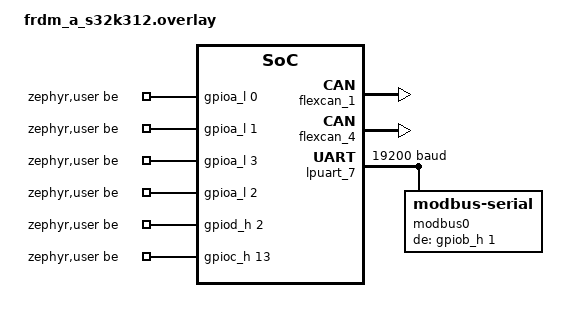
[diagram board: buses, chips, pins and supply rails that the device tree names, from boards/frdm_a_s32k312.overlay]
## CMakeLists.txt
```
# SPDX-License-Identifier: GPL-3.0-or-later
cmake_minimum_required(VERSION 3.20.0)

# Out-of-tree boards live in s32k/boards
list(APPEND BOARD_ROOT ${CMAKE_CURRENT_LIST_DIR}/../..)

find_package(Zephyr REQUIRED HINTS $ENV{ZEPHYR_BASE})
project(be_s32k_emulator)

# The link protocol is shared byte for byte with the ESP32 firmware
set(BE_SOFTWARE ${CMAKE_CURRENT_LIST_DIR}/../../../Software)
target_include_directories(app PRIVATE src ${BE_SOFTWARE}/src/communication/link)
target_sources(app PRIVATE
  src/main.c
  src/be_cfg.c
  src/be_mpu.c
  src/be_ota.c
  src/be_sha256.c
  src/be_wdt.c
  src/board_lines.c
  src/can_io.c
  src/link.c
  src/modbus_srv.c
  ${BE_SOFTWARE}/src/communication/link/be_link.c
)

# ---- The Battery-Emulator core ------------------------------------------------------------------
# Upstream sources, not copied. The list of what links without the ESP32 network, display and SD card
# code is the one the host unit tests keep (test/CMakeLists.txt), and the test/emul headers stand in
# for Arduino the same way. port/ comes first in the include path: its Preferences.h replaces theirs.
set(BE_ROOT ${CMAKE_CURRENT_LIST_DIR}/../../..)
file(STRINGS ${BE_ROOT}/test/CMakeLists.txt BE_TEST_LINES REGEX "^ *\\.\\./Software/src/.*\\.cpp")
set(BE_CORE_SOURCES)
foreach(line ${BE_TEST_LINES})
  string(STRIP "${line}" rel)
  list(APPEND BE_CORE_SOURCES ${BE_ROOT}/test/${rel})
endforeach()
list(LENGTH BE_CORE_SOURCES BE_CORE_COUNT)
if(BE_CORE_COUNT LESS 50)
  message(FATAL_ERROR "Found only ${BE_CORE_COUNT} Battery-Emulator sources in test/CMakeLists.txt")
endif()

# HTML pages have no place on the S32K: the web pages live on the ESP32. The battery page renderers of
# their own files (*-HTML.cpp) are left out, and every method they define gets an empty stand-in,
# generated from the left-out files, so that a renderer added upstream is handled the same way.
set(BE_HTML_SOURCES ${BE_CORE_SOURCES})
list(FILTER BE_HTML_SOURCES INCLUDE REGEX "-HTML\\.cpp$")
list(FILTER BE_CORE_SOURCES EXCLUDE REGEX "-HTML\\.cpp$")
set(BE_HTML_STUBS "// Generated by CMakeLists.txt: empty stand-ins for the battery HTML renderers\n")
foreach(src ${BE_HTML_SOURCES})
  get_filename_component(hdr ${src} NAME_WE)
  string(APPEND BE_HTML_STUBS "#include \"src/battery/${hdr}.h\"\n")
  file(STRINGS ${src} defs REGEX "^String [A-Za-z0-9_]+::[A-Za-z0-9_]+\\(\\) *{")
  if(NOT defs)
    message(FATAL_ERROR "${src}: no 'String Class::method() {' definition found to stand in for")
  endif()
  foreach(def ${defs})
    string(REGEX REPLACE " *{.*" "" sig "${def}")
    string(APPEND BE_HTML_STUBS "${sig} { return String(); }\n")
  endforeach()
  set_property(DIRECTORY APPEND PROPERTY CMAKE_CONFIGURE_DEPENDS ${src})
endforeach()
file(GENERATE OUTPUT ${CMAKE_CURRENT_BINARY_DIR}/be_core_gen/html_stubs.cpp CONTENT "${BE_HTML_STUBS}")
list(APPEND BE_CORE_SOURCES ${CMAKE_CURRENT_BINARY_DIR}/be_core_gen/html_stubs.cpp)
list(APPEND BE_CORE_SOURCES
  ${BE_SOFTWARE}/src/communication/nvm/comm_nvm.cpp
  ${BE_SOFTWARE}/src/communication/link/be_snapshot.cpp
  ${BE_SOFTWARE}/src/communication/equipmentstopbutton/comm_equipmentstopbutton.cpp
  ${BE_SOFTWARE}/src/devboard/utils/debounce_button.cpp
  ${BE_ROOT}/test/emul/serial.cpp
  ${BE_ROOT}/test/emul/neopixel_show.cpp
  ${BE_ROOT}/test/emul/freertos/FreeRTOS.cpp
  ${BE_ROOT}/test/emul/driver/i2c_master.cpp
)

# The calculated values logic lives in Software.cpp, which cannot be compiled here. Take it from there
# so it never drifts from upstream. Fails loudly if upstream moves the markers.
file(READ ${BE_SOFTWARE}/Software.cpp BE_SOFTWARE_CPP)
string(FIND "${BE_SOFTWARE_CPP}" "struct InstallationLimits {" BE_CALC_BEGIN)
string(FIND "${BE_SOFTWARE_CPP}" "void check_reset_reason() {" BE_CALC_END)
if(BE_CALC_BEGIN LESS 0 OR BE_CALC_END LESS BE_CALC_BEGIN)
  message(FATAL_ERROR "Calculated values section not found in Software.cpp")
endif()
math(EXPR BE_CALC_LEN "${BE_CALC_END} - ${BE_CALC_BEGIN}")
string(SUBSTRING "${BE_SOFTWARE_CPP}" ${BE_CALC_BEGIN} ${BE_CALC_LEN} BE_CALC)
file(GENERATE OUTPUT ${CMAKE_CURRENT_BINARY_DIR}/be_core_gen/be_core_calc.inc CONTENT "${BE_CALC}")
set_property(DIRECTORY APPEND PROPERTY CMAKE_CONFIGURE_DEPENDS
  ${BE_SOFTWARE}/Software.cpp ${BE_ROOT}/test/CMakeLists.txt)

zephyr_library_named(be_core)
zephyr_library_sources(${BE_CORE_SOURCES} port/be_core.cpp port/port_arduino.cpp port/port_can.cpp
  port/port_network_stubs.cpp)
zephyr_library_include_directories(port src ${CMAKE_CURRENT_BINARY_DIR}/be_core_gen
  ${BE_ROOT}/test/emul ${BE_SOFTWARE} ${BE_SOFTWARE}/src/communication/link)
zephyr_library_compile_definitions(UNIT_TEST ESP32 HW_MIV_S32K COMMON_IMAGE)
zephyr_library_compile_options(-w -include ${CMAKE_CURRENT_LIST_DIR}/port/port_prefix.h)
set_source_files_properties(${BE_SOFTWARE}/src/communication/nvm/comm_nvm.cpp PROPERTIES
  COMPILE_OPTIONS "-include;${CMAKE_CURRENT_LIST_DIR}/port/comm_nvm_prefix.h")

target_link_libraries(app PUBLIC be_core)
target_include_directories(app PRIVATE port ${BE_SOFTWARE}/src/communication/link)
target_compile_definitions(app PRIVATE HW_MIV_S32K)
target_sources(app PRIVATE port/be_core_run.c port/port_time.c port/be_kv.c port/be_link_cmd.c port/be_gpio.c
  port/be_s32k_status.c)

# Bench simulator: west build ... -- -DBE_SIM=1, or CONFIG_BE_SIM=y (sim.conf) under sysbuild
if(BE_SIM OR CONFIG_BE_SIM)
  target_sources(app PRIVATE port/sim_battery.c)
  target_compile_definitions(app PRIVATE BE_SIM)
endif()

# Under MCUboot the watchdog that MCUboot started (s32k/modules/miv_boot) keeps running through the
# start of the application until be_wdt_start() takes it over: SystemInit() of the HAL leaves SWT0 on.
if(CONFIG_BOOTLOADER_MCUBOOT)
  zephyr_compile_definitions(DISABLE_WDOG=0)
endif()
```

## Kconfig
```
# Options of the emulator application

config BE_SIM
	bool "Bench simulator"
	help
	  Builds in port/sim_battery.c, a simulated battery on the bench. The same as -DBE_SIM=1 for a plain
	  build; under sysbuild (tools/build_ota.sh) it comes in through sim.conf, because sysbuild does not
	  pass other CMake variables on to the application.

source "Kconfig.zephyr"
```

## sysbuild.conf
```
# Only used by sysbuild builds (tools/build_ota.sh): the application under MCUboot, swap with test and
# confirm, SHA-256 image check without a signature for now (OTA_PLAN.md, decision 1)
SB_CONFIG_BOOTLOADER_MCUBOOT=y
SB_CONFIG_MCUBOOT_MODE_SWAP_USING_MOVE=y
SB_CONFIG_BOOT_SIGNATURE_TYPE_NONE=y
```

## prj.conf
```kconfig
CONFIG_PRINTK=y
CONFIG_GPIO=y
CONFIG_GPIO_GET_CONFIG=y
CONFIG_SERIAL=y
CONFIG_UART_INTERRUPT_DRIVEN=y
# The link UART runs on DMA (console and Modbus stay interrupt driven)
CONFIG_UART_ASYNC_API=y
CONFIG_DMA=y
CONFIG_CAN=y
CONFIG_CAN_FD_MODE=y
CONFIG_CLOCK_CONTROL=y
CONFIG_MAIN_STACK_SIZE=4096
CONFIG_ASSERT=y
CONFIG_REBOOT=y

# Settings in NVS on the storage partition of the code flash
CONFIG_FLASH=y
CONFIG_FLASH_MAP=y
CONFIG_FLASH_PAGE_LAYOUT=y
CONFIG_NVS=y
CONFIG_SETTINGS=y
CONFIG_SETTINGS_NVS=y

# Modbus RTU server (SCADA / Home Assistant)
CONFIG_MODBUS=y
CONFIG_MODBUS_ROLE_SERVER=y
CONFIG_MODBUS_SERIAL=y
# Our settings live at 5000+, the address where float extensions would otherwise start
CONFIG_MODBUS_FP_EXTENSIONS=n

# eDMA descriptors in non-cached SRAM, not in DTCM. With descriptors in DTCM (read through the
# backdoor at 0x2100xxxx) the channel stopped with a source bus error at every scatter-gather
# switch while the CPU was reloading: SADDR held the last word of the descriptor (measured on
# FRDM-A-S32K312). DMAs that do not chain are not affected. Non-cached memory needs the MPU.
CONFIG_ARM_MPU=y
CONFIG_CPU_HAS_CUSTOM_FIXED_SOC_MPU_REGIONS=y
CONFIG_DMA_MCUX_USE_DTCM_FOR_DMA_DESCRIPTORS=n
CONFIG_NOCACHE_MEMORY=y

# Battery-Emulator core: upstream C++ drivers, each created with new at startup
CONFIG_CPP=y
CONFIG_STD_CPP20=y
CONFIG_REQUIRES_FULL_LIBCPP=y
CONFIG_COMMON_LIBC_MALLOC_ARENA_SIZE=16384
# Heap and stack use are reported over Modbus (registers 221, 224)
CONFIG_SYS_HEAP_RUNTIME_STATS=y
CONFIG_INIT_STACKS=y
CONFIG_THREAD_STACK_INFO=y
```

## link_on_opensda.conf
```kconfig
# Test variant: LPUART6 (OpenSDA) carries the link, so no console on it
CONFIG_CONSOLE=n
CONFIG_UART_CONSOLE=n
CONFIG_PRINTK=n
```

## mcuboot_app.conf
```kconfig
# The application under MCUboot (tools/build_ota.sh adds this file)

# The boot header belongs to MCUboot now
CONFIG_BOARD_NXP_MCXE31X_BOOT_HEADER=n
# The MCUboot header in front of the vector table is 4 KB: ROM_START_OFFSET cannot be set under
# MCUboot, and the SoC sets 0x1000

# Confirming the running image (boot_write_img_confirmed) and marking slot 1 for a test start
CONFIG_FLASH_MAP=y
CONFIG_STREAM_FLASH=y
CONFIG_IMG_MANAGER=y
CONFIG_MCUBOOT_IMG_MANAGER=y

# The board id in the image (TLV 0xA0, the Zephyr board name) is set by sysbuild.cmake from the board
# of the build: an update for another board is refused. The version comes from the VERSION file.
```

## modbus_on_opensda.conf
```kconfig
# Test variant: LPUART6 (OpenSDA) carries Modbus RTU, so no console on it
CONFIG_CONSOLE=n
CONFIG_UART_CONSOLE=n
CONFIG_PRINTK=n
```

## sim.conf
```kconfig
# Bench simulator (port/sim_battery.c), for builds under sysbuild (tools/build_ota.sh sim|link)
CONFIG_BE_SIM=y
```

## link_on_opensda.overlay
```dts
/*
 * Test variant: the link to the network module on the OpenSDA virtual COM port (LPUART6) instead of
 * LPUART4, so that a PC speaks the be_link protocol in place of the ESP32 (s32k/tools/ota_link_test.py).
 * The console is turned off (link_on_opensda.conf). Modbus stays on RS485. Requests 46/47 are LPUART6
 * TX/RX on DMAMUX1 (channels 6-11; LPUART4 uses 8 and 9).
 */
/ {
	chosen {
		/delete-property/ zephyr,console;
		/delete-property/ zephyr,shell-uart;
	};

	aliases {
		be-link = &lpuart_6;
	};
};

&lpuart_6 {
	current-speed = <115200>;
	dmas = <&edma 10 46>, <&edma 11 47>;
	dma-names = "tx", "rx";
};
```

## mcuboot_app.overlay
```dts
/*
 * The application under MCUboot: linked into slot 0. Added by the sysbuild build (tools/build_ota.sh).
 *
 * SPDX-License-Identifier: GPL-3.0-or-later
 */
#include "boards/mcuboot_layout.dtsi"

/ {
	chosen {
		zephyr,code-partition = &slot0_partition;
	};
};
```

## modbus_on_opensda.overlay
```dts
/*
 * Test variant: Modbus RTU on the OpenSDA virtual COM port (LPUART6) instead of RS485, so the
 * server can be tested from a PC without RS485 hardware. The console is turned off
 * (modbus_on_opensda.conf). Build with:
 *   west build ... -- -DEXTRA_DTC_OVERLAY_FILE=modbus_on_opensda.overlay -DEXTRA_CONF_FILE=modbus_on_opensda.conf
 */
/ {
	chosen {
		/delete-property/ zephyr,console;
		/delete-property/ zephyr,shell-uart;
	};
};

&lpuart_7 {
	status = "disabled";
	/delete-node/ modbus0;
};

&lpuart_6 {
	current-speed = <19200>;

	modbus0 {
		compatible = "zephyr,modbus-serial";
		status = "okay";
	};
};
```

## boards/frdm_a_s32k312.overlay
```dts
/* All three CAN channels; CAN1 (PTB22/23) and CAN4 (PTB3/PTB2) need external transceivers. */
&flexcan_1 {
	status = "okay";
};

&flexcan_4 {
	status = "okay";
};

/ {
	chosen {
		zephyr,settings-partition = &storage_partition;
	};

	/*
	 * Outputs of the Battery-Emulator core on J11, indices as in hw_miv_s32k.h. Nothing else on the
	 * board uses these pins. 3.3 V logic: a driver with a pull-down goes between them and a coil, the
	 * pads float during a reset.
	 */
	zephyr,user {
		be-gpios = <&gpioa_l 0 GPIO_ACTIVE_HIGH>,  /* 0 positive contactor, PTA0, J11-15 */
			   <&gpioa_l 1 GPIO_ACTIVE_HIGH>,  /* 1 negative contactor, PTA1, J11-13 */
			   <&gpioa_l 3 GPIO_ACTIVE_HIGH>,  /* 2 precharge, PTA3, J11-11 */
			   <&gpioa_l 2 GPIO_ACTIVE_HIGH>,  /* 3 battery 2 contactor, PTA2, J11-9 */
			   <&gpiod_h 2 GPIO_ACTIVE_HIGH>,  /* 4 BMS power, PTD18, J11-4 */
			   <&gpioc_h 13 GPIO_ACTIVE_HIGH>; /* 5 stop button input, PTC29, J11-2 */
	};
};

&gpioa_l {
	status = "okay";
};

&gpiod_h {
	status = "okay";
};


/* Modbus RTU server on RS485: LPUART7 (PTB14 RX, PTB15 TX), driver enable on PTB17 */
&lpuart_7 {
	status = "okay";
	current-speed = <19200>;
	pinctrl-0 = <&pinmux_lpuart_7>;
	pinctrl-names = "default";

	modbus0 {
		compatible = "zephyr,modbus-serial";
		de-gpios = <&gpiob_h 1 GPIO_ACTIVE_HIGH>;
		status = "okay";
	};
};

/* Link UART to the ESP32 on DMA. Requests 42/43 are LPUART4 TX/RX on DMAMUX1 (channels 6-11). */
&edma {
	status = "okay";
};

&lpuart_4 {
	dmas = <&edma 8 42>, <&edma 9 43>;
	dma-names = "tx", "rx";
};
```

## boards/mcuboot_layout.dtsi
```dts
/*
 * Flash layout with MCUboot (OTA_PLAN.md section 2): bootloader, two image slots in the two flash blocks,
 * the NVS settings where they were without MCUboot. Used by both images of a sysbuild build: MCUboot
 * (sysbuild/mcuboot.overlay) and the application (mcuboot_app.overlay).
 *
 * SPDX-License-Identifier: GPL-3.0-or-later
 */

/* The board points at its code_partition, which this layout replaces: MCUboot's partition here, the
 * application sets slot0_partition in mcuboot_app.overlay
 */
/ {
	chosen {
		zephyr,code-partition = &boot_partition;
	};
};

&flash0 {
	partitions {
		/delete-node/ partition@0;
		/delete-node/ partition@100;

		/* MCUboot with the S32K3 boot header (IVT) at 0x400000 */
		boot_partition: partition@0 {
			compatible = "zephyr,mapped-partition";
			label = "mcuboot";
			reg = <0x00000000 DT_SIZE_K(64)>;
		};

		/* Running image, block 0. Swap using move: one sector bigger than slot 1 */
		slot0_partition: partition@10000 {
			compatible = "zephyr,mapped-partition";
			label = "image-0";
			reg = <0x00010000 DT_SIZE_K(920)>;
		};

		/* 0xf6000-0xfffff: 40 KB spare in block 0 */

		/* New image, block 1 */
		slot1_partition: partition@100000 {
			compatible = "zephyr,mapped-partition";
			label = "image-1";
			reg = <0x00100000 DT_SIZE_K(912)>;
		};

		/* storage_partition (NVS) at 0x1e4000 stays as the board has it */
	};
};
```

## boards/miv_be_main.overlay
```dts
/*
 * The emulator on the MIV be_main board. The pins are the board's (boards/miv/miv_be_main): here only
 * which lines the Battery-Emulator core gets and how the application uses the ports.
 *
 * SPDX-License-Identifier: GPL-3.0-or-later
 */

/ {
	chosen {
		zephyr,settings-partition = &storage_partition;
	};

	/*
	 * Lines of the Battery-Emulator core, in the order of hw_miv_s32k.h (the FRDM overlay lists the
	 * same functions as be-gpios). The core drives the outputs active high and reads the stop input
	 * in its logical sense (active low on this board).
	 */
	zephyr,user {
		be-lines = <&out1>,      /* 0 positive contactor, OUT1 */
			   <&out2>,      /* 1 negative contactor, OUT2 */
			   <&out3>,      /* 2 precharge, OUT3 */
			   <&out4>,      /* 3 battery 2 contactor, OUT4 */
			   <&bms_power>, /* 4 BMS power, IG3 */
			   <&stop_in>;   /* 5 stop button input */
	};
};

/* Modbus RTU server on RS485 (the modbus node with its DE pin is the board's) */
&lpuart_7 {
	status = "okay";
	current-speed = <19200>;
};

/* Link UART to the ESP32 on DMA. Requests 42/43 are LPUART4 TX/RX on DMAMUX1 (channels 6-11). */
&edma {
	status = "okay";
};

&lpuart_4 {
	dmas = <&edma 8 42>, <&edma 9 43>;
	dma-names = "tx", "rx";
};
```

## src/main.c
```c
/*
 * S32K emulator firmware (MIV variant A+). The S32K runs on its own: CAN channels, settings in
 * NVS, Modbus RTU server for SCADA/HA. The ESP32 network module is optional and talks over the
 * link UART (today: CAN bridge for the unmodified Battery-Emulator on the ESP32).
 *
 * Next steps (FIRMWARE_PLAN.md): Battery-Emulator drivers and datalayer on this side, datalayer
 * and settings exchange with the ESP32.
 *
 * SPDX-License-Identifier: GPL-3.0-or-later
 */
#include <zephyr/kernel.h>
#include <zephyr/drivers/gpio.h>
#include <zephyr/sys/printk.h>
#include <soc.h>
#include <string.h>

#include "be_cfg.h"
#include "be_core.h"
#include "be_kv.h"
#include "be_link_cmd.h"
#include "be_ota.h"
#include "be_snapshot.h"
#include "be_wdt.h"
#include "can_io.h"
#include "link.h"
#include "modbus_srv.h"
#include "sim_battery.h"

static const struct gpio_dt_spec led = GPIO_DT_SPEC_GET(DT_ALIAS(led1), gpios);

static void on_link_frame(const struct be_link_frame *f)
{
	if (be_ota_frame(f)) {
		return;
	}
	if (be_ota_busy()) {
		/* During an update nothing else is taken; the ESP32 holds its messages back anyway */
		if (f->type == BE_LINK_CMD || f->type == BE_LINK_SETTINGS) {
			uint16_t id = 0;

			if (f->len >= 4) {
				memcpy(&id, f->payload + 2, sizeof(id));
			}
			struct be_link_ack a = {.acked_type = f->type, .acked_seq = (uint8_t)id, .status = -EBUSY};

			link_send(BE_LINK_ACK, &a, sizeof(a));
		}
		return;
	}
	if (be_link_cmd_frame(f)) {
		return;
	}
	/* CMD from the ESP32 (bridge mode): set the bit rate of a channel, stored in NVS */
	if (f->type == BE_LINK_CMD) {
		struct be_link_cmd c = {0};

		memcpy(&c, f->payload, MIN(f->len, sizeof(c)));
		if (c.code == 1 && be_core_active()) {
			/* The drivers set the bit rates. The ESP32 asks at start from its own settings */
			struct be_link_ack a = {.acked_type = f->type, .acked_seq = f->seq, .status = -EPERM};

			link_send(BE_LINK_ACK, &a, sizeof(a));
		} else if (c.code == 1) {
			uint8_t iface = c.arg0 & 0xFF;
			struct be_cfg next = be_cfg;
			int err = -EINVAL;

			if (iface < BE_NUM_CAN) {
				next.can[iface].nominal_kbps = (uint16_t)(c.arg0 >> 8);
				next.can[iface].data_kbps = (uint16_t)c.arg1;
				next.can[iface].enabled = 1;
				err = 0;
				if (memcmp(&next, &be_cfg, sizeof(next)) != 0) {
					err = be_cfg_save(&next);
				}
				if (err == 0) {
					err = can_io_apply(iface);
				}
			}
			struct be_link_ack a = {.acked_type = f->type, .acked_seq = f->seq,
						.status = (int16_t)err};

			link_send(BE_LINK_ACK, &a, sizeof(a));
		} else if (c.code == 2 && !be_core_active()) {
			/* Diagnostic: internal loopback, arg0 = iface, arg1 = on/off */
			int err = can_io_set_loopback((uint8_t)c.arg0, c.arg1 != 0);

			printk("CAN%u loopback %u: %d\n", (unsigned int)c.arg0, (unsigned int)c.arg1, err);
		}
	}
}

static void core_can_rx(uint8_t iface, const struct can_frame *frame)
{
	be_core_rx_isr(iface, frame);
}

int main(void)
{
	/*
	 * Reset escalation off (threshold 0): with the default of 15 the chip counts its resets, and a
	 * device that restarts itself now and then must not stop doing so after some number of them.
	 */
	MC_RGM->DRET = 0;
	MC_RGM->FRET = 0;

	printk("\n=== BE S32K emulator (A+) on %s ===\n", CONFIG_BOARD_TARGET);
	be_wdt_boot();

	if (gpio_is_ready_dt(&led)) {
		gpio_pin_configure_dt(&led, GPIO_OUTPUT_INACTIVE);
	}
	be_ota_init(be_cfg_init());
	/* With a battery type set the core owns the CAN channels, otherwise they go to the link */
	can_io_init(be_cfg.battery_type != 0 ? core_can_rx : link_queue_can_rx);
	if (link_init(on_link_frame)) {
		printk("link UART not ready\n");
	}
	modbus_srv_init();
	be_core_start();
	be_wdt_start();

	int64_t next_led = k_uptime_get(), next_stats = k_uptime_get() + 5000, next_status = 0;

	while (1) {
		link_poll(K_MSEC(50));
		be_link_cmd_poll();
		be_kv_store_pending();
		be_wdt_main_alive();
		be_ota_poll();
#ifdef BE_SIM
		sim_battery_main_poll();
#endif

		int64_t now = k_uptime_get();

		/* Bridge mode: no core, no snapshots; the ESP32 page still needs this chip's status */
		if (now >= next_status && !be_core_mode() && !be_ota_busy() && link_peer_alive()) {
			next_status = now + 1000;
			be_s32k_status_send();
		}
		if (now >= next_led) {
			next_led += 500;
			if (gpio_is_ready_dt(&led)) {
				gpio_pin_toggle_dt(&led);
			}
		}
		if (now >= next_stats) {
			next_stats += 10000;
			if (be_core_active()) {
				be_core_print_status();
			}
			const struct be_link_stats *ls = link_rx_stats();

			printk("cfg rev %u | link tx %u rx %u B ok %u crc %u frm %u ovf %u | uart or %u fe %u nf %u "
			       "drop %u | peer %d | can rx %u/%u/%u tx %u/%u/%u err %u/%u/%u\n",
			       be_cfg.revision, link_stats.tx_frames, link_stats.rx_bytes,
			       ls->frames_ok, ls->crc_errors, ls->framing_errors, ls->overflows,
			       link_stats.uart_overrun, link_stats.uart_framing, link_stats.uart_noise,
			       link_stats.rx_drops, link_peer_alive(), can_io_stats[0].rx,
			       can_io_stats[1].rx, can_io_stats[2].rx, can_io_stats[0].tx_ok,
			       can_io_stats[1].tx_ok, can_io_stats[2].tx_ok, can_io_stats[0].tx_err,
			       can_io_stats[1].tx_err, can_io_stats[2].tx_err);
		}
	}
	return 0;
}
```

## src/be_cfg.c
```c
/*
 * SPDX-License-Identifier: GPL-3.0-or-later
 */
#include "be_cfg.h"
#include "be_kv.h"

#include <errno.h>
#include <string.h>
#include <zephyr/kernel.h>
#include <zephyr/settings/settings.h>
#include <zephyr/sys/printk.h>
#include <fsl_power.h>

struct be_cfg be_cfg;

static struct be_cfg loaded;
static bool loaded_valid;

void be_cfg_defaults(struct be_cfg *cfg)
{
	memset(cfg, 0, sizeof(*cfg));
	cfg->version = BE_CFG_VERSION;
	/* CAN0: inverter, classic CAN 500 kbit/s. CAN1/CAN4: batteries, CAN FD 500k/2M */
	cfg->can[0] = (struct be_cfg_can){.nominal_kbps = 500, .data_kbps = 0, .enabled = 1};
	cfg->can[1] = (struct be_cfg_can){.nominal_kbps = 500, .data_kbps = 2000, .enabled = 1};
	cfg->can[2] = (struct be_cfg_can){.nominal_kbps = 500, .data_kbps = 2000, .enabled = 1};
	cfg->mb_unit_id = 1;
	cfg->mb_parity = 2; /* Modbus RTU default: 8E1 */
	cfg->mb_baud_div100 = 192;
	cfg->battery_iface = 1;
	cfg->battery2_iface = 2;
	cfg->inverter_iface = 0;
	cfg->max_percentage = 8000;
	cfg->min_percentage = 2000;
	cfg->max_charge_dA = 300;
	cfg->max_discharge_dA = 300;
	cfg->precharge_ms = 100;
#ifdef BE_SIM
	/* Bench simulator: starts as a Kia/Hyundai 64 battery with a Pylon inverter */
	cfg->battery_type = 17;
	cfg->inverter_type = 10;
#endif
}

int be_cfg_validate(const struct be_cfg *cfg)
{
	static const uint16_t nominal_ok[] = {100, 125, 200, 250, 500, 800, 1000};

	for (int i = 0; i < BE_NUM_CAN; i++) {
		const struct be_cfg_can *c = &cfg->can[i];
		bool ok = false;

		for (size_t k = 0; k < ARRAY_SIZE(nominal_ok); k++) {
			ok |= c->nominal_kbps == nominal_ok[k];
		}
		if (!ok || c->enabled > 1) {
			return -EINVAL;
		}
		if (c->data_kbps != 0 && (c->data_kbps < c->nominal_kbps || c->data_kbps > 5000)) {
			return -EINVAL;
		}
	}
	if (cfg->mb_unit_id < 1 || cfg->mb_unit_id > 247 || cfg->mb_parity > 2) {
		return -EINVAL;
	}
	if (cfg->battery_iface >= BE_NUM_CAN || cfg->battery2_iface >= BE_NUM_CAN ||
	    cfg->inverter_iface >= BE_NUM_CAN || cfg->soc_scaling > 1) {
		return -EINVAL;
	}
	/* The battery and the inverter may share a bus. Two batteries of a type send the same IDs. */
	if (cfg->battery2_type != 0 && (cfg->battery2_iface == cfg->battery_iface ||
					cfg->battery2_iface == cfg->inverter_iface)) {
		return -EINVAL;
	}
	if (cfg->max_percentage > 10000 || cfg->min_percentage >= (int32_t)cfg->max_percentage) {
		return -EINVAL;
	}
	/* Closing without a real precharge time would be the inrush the precharge is there to prevent */
	if (cfg->contactor_ctrl > 1 || cfg->contactor2_ctrl > 1 || cfg->contactor_nc > 1 ||
	    cfg->precharge_ms < 10 || cfg->precharge_ms > 60000) {
		return -EINVAL;
	}
	switch (cfg->mb_baud_div100) {
	case 96: case 192: case 384: case 576: case 1152:
		break;
	default:
		return -EINVAL;
	}
	return 0;
}

static int be_settings_set(const char *name, size_t len, settings_read_cb read_cb, void *cb_arg)
{
	if (strncmp(name, "k/", 2) == 0) {
		return be_kv_on_load(name + 2, len, (int (*)(void *, void *, size_t))read_cb, cb_arg);
	}
	if (strcmp(name, "cfg") != 0) {
		return -ENOENT;
	}
	struct be_cfg tmp;

	be_cfg_defaults(&tmp);
	/* Older/newer layouts: take the common prefix, the rest stays at the defaults */
	ssize_t n = read_cb(cb_arg, &tmp, MIN(len, sizeof(tmp)));

	if (n < (ssize_t)sizeof(uint16_t)) {
		return -EINVAL;
	}
	tmp.version = BE_CFG_VERSION;
	if (be_cfg_validate(&tmp) == 0) {
		loaded = tmp;
		loaded_valid = true;
	}
	return 0;
}

SETTINGS_STATIC_HANDLER_DEFINE(be, "be", NULL, be_settings_set, NULL, NULL);

int be_cfg_reload(struct be_cfg *cfg)
{
	loaded_valid = false;
	int err = settings_load_subtree("be");

	if (err == 0 && loaded_valid) {
		*cfg = loaded;
		return 0;
	}
	be_cfg_defaults(cfg);
	return err ? err : -ENOENT;
}

int be_cfg_init(void)
{
	int err = settings_subsys_init();

	if (err) {
		printk("settings init failed: %d, using defaults\n", err);
		be_cfg_defaults(&be_cfg);
		return err;
	}
	err = be_cfg_reload(&be_cfg);
	printk("config: %s, revision %u\n", err ? "defaults" : "loaded from NVS", be_cfg.revision);
	return 0;
}

void be_cfg_system_reset(void)
{
	/*
	 * The request is a two-word key sequence to MC_ME. An interrupt between the two words cancels it
	 * and POWER_RequestResetMode() then waits forever: about 1 reset in 5 with CAN traffic running.
	 *
	 * Functional, not destructive: measured on FRDM-A-S32K312, the 8th destructive reset after a
	 * flash load left the chip dead before the first line of the boot, with the escalation
	 * thresholds at 0 and the flash intact. 29 functional resets in a row were fine. Cause not known.
	 */
	(void)irq_lock();
	POWER_RequestResetMode(kMC_ME_FunctionalReset);
	while (1) {
		k_cpu_idle();
	}
}

static void reset_work_handler(struct k_work *work)
{
	ARG_UNUSED(work);
	be_cfg_system_reset();
}
static K_WORK_DELAYABLE_DEFINE(reset_work, reset_work_handler);

void be_cfg_system_reset_in(uint32_t ms)
{
	k_work_schedule(&reset_work, K_MSEC(ms));
}

int be_cfg_save(const struct be_cfg *cfg)
{
	struct be_cfg tmp = *cfg;
	int err = be_cfg_validate(&tmp);

	if (err) {
		return err;
	}
	tmp.version = BE_CFG_VERSION;
	tmp.revision = be_cfg.revision + 1;
	err = settings_save_one("be/cfg", &tmp, sizeof(tmp));
	if (err) {
		return err;
	}
	be_cfg = tmp;
	return 0;
}
```

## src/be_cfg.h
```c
/*
 * Configuration of the S32K emulator (variant A+): the S32K is the source of truth for the
 * settings and keeps them in NVS. The ESP32 (web UI) and Modbus (SCADA/HA) both edit them.
 *
 * SPDX-License-Identifier: GPL-3.0-or-later
 */
#ifndef BE_CFG_H
#define BE_CFG_H

#include <stdint.h>

#define BE_CFG_VERSION 2
#define BE_NUM_CAN     3

struct be_cfg_can {
	uint16_t nominal_kbps; /* arbitration bit rate */
	uint16_t data_kbps;    /* CAN FD data bit rate, 0 = classic CAN */
	uint8_t enabled;
	uint8_t reserved[3];
};

struct be_cfg {
	uint16_t version; /* BE_CFG_VERSION */
	uint16_t reserved0;
	uint32_t revision; /* increments on every save */

	struct be_cfg_can can[BE_NUM_CAN];

	/* Modbus RTU server (takes effect after a reboot) */
	uint8_t mb_unit_id;
	uint8_t mb_parity; /* 0 none, 1 odd, 2 even */
	uint16_t mb_baud_div100;

	/* Emulator selection, indices of the upstream Battery-Emulator enums. After a reboot. Battery type
	 * 0 turns the core off and bridges CAN to the ESP32 over the link. Second battery: same type as
	 * the first, any value other than 0 enables it. */
	uint16_t battery_type;
	uint16_t battery2_type;
	uint16_t inverter_type;
	uint16_t reserved1;

	/* Which CAN channel each one uses (0 = CAN0, 1 = CAN1, 2 = CAN4). After a reboot. */
	uint8_t battery_iface;
	uint8_t battery2_iface;
	uint8_t inverter_iface;
	uint8_t soc_scaling; /* 1 = inverter sees the SOC scaled between the limits below */

	/* Limits, same meaning and defaults as upstream's battery_settings. After a reboot. */
	uint16_t max_percentage; /* SOC 0.01 %, top of the scaled window */
	int16_t min_percentage;  /* SOC 0.01 %, bottom of the scaled window */
	uint16_t max_charge_dA;
	uint16_t max_discharge_dA;

	/* Contactors driven from the outputs of this board. After a reboot, the precharge time at once. */
	uint8_t contactor_ctrl;
	uint8_t contactor2_ctrl; /* a contactor for the second battery */
	uint8_t contactor_nc;    /* normally closed contactors: inverted outputs. Rare */
	uint8_t reserved2;
	uint16_t precharge_ms;
	uint16_t reserved3;
};

/* Active configuration (what the firmware runs with) */
extern struct be_cfg be_cfg;

void be_cfg_defaults(struct be_cfg *cfg);

/* Mounts settings, loads the stored configuration or falls back to the defaults. */
int be_cfg_init(void);

/* Stores *cfg as the new configuration (revision is incremented) and makes it active. */
int be_cfg_save(const struct be_cfg *cfg);

/* Re-reads the stored configuration into *cfg (defaults if nothing stored). */
int be_cfg_reload(struct be_cfg *cfg);

/* 0 if the configuration is consistent, negative errno otherwise */
int be_cfg_validate(const struct be_cfg *cfg);

/* Restarts the chip. On S32K3 / MCX E31x the Arm SYSRESETREQ used by sys_reboot() leaves the part
 * hung (seen on FRDM-A-S32K312); a functional reset through MC_ME works. Does not return. */
void be_cfg_system_reset(void);
void be_cfg_system_reset_in(uint32_t ms);

#endif /* BE_CFG_H */
```

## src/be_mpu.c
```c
/*
 * MPU regions of the S32K312, instead of the Zephyr default for this SoC, which maps only flash and
 * SRAM and leaves the rest to the background map. There the Cortex-M7 can access speculatively an
 * address with nothing behind it, and on this chip that hangs the bus: the core and the interrupts
 * stop, a debugger cannot halt it, and only the second stage of the watchdog brings it back, as a
 * destructive reset. Whether it happens depends on the layout of the code, see FIRMWARE_PLAN.md.
 * NXP ERR011573; the S32K3 SoC in Zephyr has the same region 0.
 *
 * SPDX-License-Identifier: GPL-3.0-or-later
 */
#include <zephyr/arch/arm/mpu/arm_mpu_mem_cfg.h>

static const struct arm_mpu_region mpu_regions[] = {
	/* First: every other region has a higher number and wins over it */
	MPU_REGION_ENTRY("UNMAPPED", 0, {REGION_4G | MPU_RASR_XN_Msk | P_NA_U_NA_Msk}),
	MPU_REGION_ENTRY("ITCM", 0,
			 {NORMAL_OUTER_INNER_WRITE_BACK_WRITE_READ_ALLOCATE_NON_SHAREABLE | REGION_32K |
			  P_RW_U_NA_Msk}),
	MPU_REGION_ENTRY("FLASH", CONFIG_FLASH_BASE_ADDRESS, REGION_FLASH_ATTR(REGION_FLASH_SIZE)),
	MPU_REGION_ENTRY("DTCM", 0x20000000, REGION_RAM_ATTR(REGION_64K)),
	MPU_REGION_ENTRY("SRAM", CONFIG_SRAM_BASE_ADDRESS, REGION_RAM_ATTR(REGION_SRAM_SIZE)),
	MPU_REGION_ENTRY("PERIPHERALS", 0x40000000, REGION_IO_ATTR(REGION_512M)),
	MPU_REGION_ENTRY("PPB", 0xE0000000, REGION_PPB_ATTR(REGION_1M)),
};

const struct arm_mpu_config mpu_config = {
	.num_regions = ARRAY_SIZE(mpu_regions),
	.mpu_regions = mpu_regions,
};
```

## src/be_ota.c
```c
/*
 * SPDX-License-Identifier: GPL-3.0-or-later
 */
#include "be_ota.h"

#include <stdio.h>
#include <string.h>
#include <zephyr/kernel.h>
#include <zephyr/sys/printk.h>

#include "be_cfg.h"
#include "be_wdt.h"
#include "link.h"

#ifdef CONFIG_BOOTLOADER_MCUBOOT
#include <zephyr/devicetree.h>
#include <zephyr/dfu/mcuboot.h>
#include <zephyr/settings/settings.h>
#include <zephyr/storage/flash_map.h>

#include "be_core.h"
#include "be_gpio.h"
#include "be_sha256.h"

#define CONFIRM_AFTER_MS (60U * 1000U)
#define GIVE_UP_MS       (5U * 60U * 1000U)

#define SLOT0_ADDR  PARTITION_ADDRESS(slot0_partition)
#define SLOT0_SIZE  PARTITION_SIZE(slot0_partition)
#define SLOT1_ID    PARTITION_ID(slot1_partition)
#define SLOT1_SIZE  PARTITION_SIZE(slot1_partition)
#define SECTOR_SIZE 8192U
/* The last sector of slot 1 holds MCUboot's trailer (magic, swap status): the image stays below it */
#define MAX_IMAGE   (SLOT1_SIZE - SECTOR_SIZE)

#define SRAM_ADDR DT_REG_ADDR(DT_CHOSEN(zephyr_sram))
#define SRAM_SIZE DT_REG_SIZE(DT_CHOSEN(zephyr_sram))
#define DTCM_ADDR DT_REG_ADDR(DT_CHOSEN(zephyr_dtcm))
#define DTCM_SIZE DT_REG_SIZE(DT_CHOSEN(zephyr_dtcm))

#define IMAGE_MAGIC     0x96f3b83dU
#define TLV_INFO_MAGIC  0x6907U
#define TLV_PROT_MAGIC  0x6908U
#define TLV_SHA256      0x10U
#define MARKER_MAGIC    0x4F544131U /* "OTA1" */
#define RESTART_MS      2000U

/* State of the image */
static enum be_image_state state = BE_IMAGE_CONFIRMED;
static bool cfg_ok;
static enum be_update_result result;
static char image_version[32]; /* "255.255.65535+4294967295" at most */
static char update_version[32];

/* "Update to version X pending": written before the image is marked, read by whichever image starts
 * next. Kept outside the "be" settings tree, so it never shows among the emulator's settings. */
struct ota_marker {
	uint32_t magic;
	char version[32];
};
static struct ota_marker marker;
static bool marker_found;

static int marker_set(const char *name, size_t len, settings_read_cb read_cb, void *cb_arg)
{
	if (strcmp(name, "pending") == 0 && len == sizeof(marker)) {
		marker_found = read_cb(cb_arg, &marker, sizeof(marker)) == sizeof(marker) &&
			       marker.magic == MARKER_MAGIC;
		marker.version[sizeof(marker.version) - 1] = '\0';
	}
	return 0;
}
SETTINGS_STATIC_HANDLER_DEFINE(beota, "beota", NULL, marker_set, NULL, NULL);

static void version_text(char *out, size_t cap, const uint8_t ver[8])
{
	const uint16_t rev = (uint16_t)(ver[2] | (ver[3] << 8));
	const uint32_t build = (uint32_t)ver[4] | ((uint32_t)ver[5] << 8) | ((uint32_t)ver[6] << 16) |
			       ((uint32_t)ver[7] << 24);

	if (build != 0U) {
		snprintf(out, cap, "%u.%u.%u+%u", ver[0], ver[1], rev, (unsigned int)build);
	} else {
		snprintf(out, cap, "%u.%u.%u", ver[0], ver[1], rev);
	}
}

void be_ota_init(int cfg_err)
{
	cfg_ok = cfg_err == 0;

	struct mcuboot_img_header h;

	if (boot_read_bank_header(PARTITION_ID(slot0_partition), &h, sizeof(h)) == 0) {
		const struct mcuboot_img_sem_ver *v = &h.h.v1.sem_ver;
		const uint8_t raw[8] = {v->major, v->minor, (uint8_t)v->revision, (uint8_t)(v->revision >> 8),
					(uint8_t)v->build_num, (uint8_t)(v->build_num >> 8),
					(uint8_t)(v->build_num >> 16), (uint8_t)(v->build_num >> 24)};

		version_text(image_version, sizeof(image_version), raw);
	}
	(void)settings_load_subtree("beota");

	if (mcuboot_swap_type() == BOOT_SWAP_TYPE_REVERT) {
		/* MCUboot swapped this image in for a test: it swaps back unless it is confirmed */
		state = BE_IMAGE_TEST;
		result = BE_UPDATE_ON_TEST;
		strncpy(update_version, marker_found ? marker.version : image_version,
			sizeof(update_version) - 1);
	} else {
		/* A confirmed image, or one written through SWD without a trailer: mark it, so that a
		 * later update finds a confirmed image in slot 0 */
		if (!boot_is_img_confirmed()) {
			printk("image written without a confirm, confirming: %d\n", boot_write_img_confirmed());
		}
		state = BE_IMAGE_CONFIRMED;
		if (marker_found) {
			/* An update was marked, and this image is not it on test: it did not confirm (or
			 * MCUboot did not take it) and the old image is back */
			result = BE_UPDATE_REVERTED;
			strncpy(update_version, marker.version, sizeof(update_version) - 1);
			(void)settings_delete("beota/pending");
		}
	}
	printk("image %s: %s\n", image_version,
	       state == BE_IMAGE_TEST ? "test image, not confirmed" : "confirmed");
	if (result == BE_UPDATE_REVERTED) {
		printk("update to %s did not confirm: the previous image is back\n", update_version);
	}
}

/* ---- Receiving an update ---- */

enum ota_phase { OTA_IDLE, OTA_RECEIVING, OTA_DONE };

static enum ota_phase phase;
static const struct flash_area *fa;
static uint32_t ota_image_id, ota_total, ota_written, ota_erased_to;
static uint8_t ota_sha[32];
static uint8_t ota_ver[8];
static uint16_t ota_hdr_size, ota_prot_size;
static uint32_t ota_img_size;
static int64_t ota_last_ms;
static uint8_t io_buf[BE_LINK_OTA_DATA_MAX + 8] __aligned(8);
static uint8_t rd_buf[BE_LINK_OTA_DATA_MAX + 8] __aligned(8);

static void send_ack(const struct be_link_ota_hdr *h, int status)
{
	struct be_link_ota_ack a = {
		.ack = {.acked_type = BE_LINK_OTA, .acked_seq = h->id, .status = (int16_t)status},
		.op = h->op,
		.offset = ota_written,
	};

	(void)link_send(BE_LINK_ACK, &a, sizeof(a));
}

static uint32_t le32(const uint8_t *p)
{
	return (uint32_t)p[0] | ((uint32_t)p[1] << 8) | ((uint32_t)p[2] << 16) | ((uint32_t)p[3] << 24);
}

static uint16_t le16(const uint8_t *p)
{
	return (uint16_t)(p[0] | (p[1] << 8));
}

/* Section 7 of OTA_PLAN.md: nothing may be switching or carrying current while the core stops */
static int safety_check(void)
{
	if ((be_gpio_levels() & 0x0FU) != 0U) {
		return BE_OTA_E_CONTACTORS;
	}
	if (!be_core_active()) {
		return 0;
	}
	uint16_t engaged = 0, current = 0, p[4] = {0};

	(void)be_core_reg_read(205, &engaged);
	(void)be_core_reg_read(212, &current);
	for (int i = 0; i < 4; i++) {
		(void)be_core_reg_read(213 + i, &p[i]);
	}
	if (engaged != 0U) {
		return BE_OTA_E_CONTACTORS;
	}
	if ((p[0] | p[1] | p[2] | p[3]) != 0U) {
		return BE_OTA_E_NOT_PAUSED;
	}
	const int16_t dA = (int16_t)current;

	if (dA >= 10 || dA <= -10) {
		return BE_OTA_E_CURRENT;
	}
	return 0;
}

/* Ends a transfer that cannot go on: nothing is marked, the old image starts again with its core */
static void give_up(const char *why, int status)
{
	printk("update: %s (%d), restarting into the running image\n", why, status);
	phase = OTA_DONE;
	be_cfg_system_reset_in(RESTART_MS);
}

static int on_begin(const struct be_link_ota_begin *b)
{
	const uint8_t *hd = b->head;

	if (state == BE_IMAGE_TEST) {
		return BE_OTA_E_TEST_IMAGE;
	}
	if (le32(hd) != IMAGE_MAGIC) {
		return BE_OTA_E_NOT_IMAGE;
	}
	const uint32_t load_addr = le32(hd + 4);
	const uint16_t hdr_size = le16(hd + 8);
	const uint32_t img_size = le32(hd + 12);
	const uint32_t flags = le32(hd + 16);

	if (flags != 0U || load_addr != 0U) {
		return BE_OTA_E_FLAGS;
	}
	if (hdr_size != CONFIG_ROM_START_OFFSET) {
		return BE_OTA_E_VECTORS;
	}
	if (b->hdr.total > MAX_IMAGE) {
		return BE_OTA_E_TOO_BIG;
	}
	if (b->hdr.total < (uint32_t)hdr_size + img_size + 4U) {
		return BE_OTA_E_NOT_IMAGE;
	}
	int err = safety_check();

	if (err) {
		return err;
	}
	/* From here on the old image only comes back through a restart */
	printk("update: %u bytes, stopping the core\n", (unsigned int)b->hdr.total);
	be_core_halt();
	if (fa == NULL && flash_area_open(SLOT1_ID, &fa) != 0) {
		give_up("slot 1 does not open", BE_OTA_E_FLASH);
		return BE_OTA_E_FLASH;
	}
	/* The trailer sector: boot_request_upgrade() writes its magic there at the end */
	if (flash_area_erase(fa, SLOT1_SIZE - SECTOR_SIZE, SECTOR_SIZE) != 0) {
		give_up("erasing the trailer failed", BE_OTA_E_FLASH);
		return BE_OTA_E_FLASH;
	}
	phase = OTA_RECEIVING;
	ota_image_id = b->hdr.image_id;
	ota_total = b->hdr.total;
	ota_written = 0;
	ota_erased_to = 0;
	ota_hdr_size = hdr_size;
	ota_prot_size = le16(hd + 10);
	ota_img_size = img_size;
	memcpy(ota_sha, b->sha256, sizeof(ota_sha));
	memcpy(ota_ver, hd + 20, sizeof(ota_ver));
	return 0;
}

static int on_data(const struct be_link_ota_hdr *h, const uint8_t *data, uint16_t len)
{
	if (phase != OTA_RECEIVING || h->image_id != ota_image_id) {
		return BE_OTA_E_SEQUENCE;
	}
	if (len > 0U && h->offset + len == ota_written) {
		return 0; /* repeated because our ack was lost: written already */
	}
	const uint32_t end = h->offset + len;

	if (h->offset != ota_written || len == 0U || len > BE_LINK_OTA_DATA_MAX || end > ota_total ||
	    ((len % 8U) != 0U && end != ota_total)) {
		return BE_OTA_E_SEQUENCE;
	}
	const uint32_t wlen = ROUND_UP(len, 8U);

	/* Erase what this frame reaches; the whole frame is in, the ack follows */
	while (ota_erased_to < h->offset + wlen) {
		if (flash_area_erase(fa, ota_erased_to, SECTOR_SIZE) != 0) {
			return BE_OTA_E_FLASH;
		}
		ota_erased_to += SECTOR_SIZE;
	}
	memset(io_buf, 0xFF, wlen);
	memcpy(io_buf, data, len);
	if (flash_area_write(fa, h->offset, io_buf, wlen) != 0 ||
	    flash_area_read(fa, h->offset, rd_buf, wlen) != 0 || memcmp(io_buf, rd_buf, wlen) != 0) {
		return BE_OTA_E_FLASH;
	}
	ota_written = end;
	return 0;
}

/* Board id in the protected TLV area, right after the image */
static int check_tlvs(void)
{
	uint32_t off = (uint32_t)ota_hdr_size + ota_img_size;
	uint8_t info[4];

	if (flash_area_read(fa, off, info, sizeof(info)) != 0) {
		return BE_OTA_E_TLV;
	}
	if (le16(info) != TLV_PROT_MAGIC) {
		return BE_OTA_E_BOARD; /* no protected TLVs: no board id */
	}
	const uint32_t end = off + le16(info + 2);

	if (end > ota_total) {
		return BE_OTA_E_TLV;
	}
	for (off += sizeof(info); off + 4U <= end;) {
		uint8_t t[4];

		if (flash_area_read(fa, off, t, sizeof(t)) != 0) {
			return BE_OTA_E_TLV;
		}
		const uint16_t type = le16(t), len = le16(t + 2);

		if (off + 4U + len > end) {
			return BE_OTA_E_TLV;
		}
		if (type == BE_OTA_TLV_BOARD) {
			char name[32] = {0};

			if (len != strlen(CONFIG_BOARD) || len >= sizeof(name) ||
			    flash_area_read(fa, off + 4U, name, len) != 0) {
				return BE_OTA_E_BOARD;
			}
			return strcmp(name, CONFIG_BOARD) == 0 ? 0 : BE_OTA_E_BOARD;
		}
		off += 4U + len;
	}
	return BE_OTA_E_BOARD;
}

/* The image's own SHA-256 (TLV 0x10 in the unprotected TLV area), the hash MCUboot checks */
static int find_hash_tlv(uint32_t at, uint8_t out[32])
{
	uint8_t info[4];

	if (flash_area_read(fa, at, info, sizeof(info)) != 0) {
		return BE_OTA_E_FLASH;
	}
	if (le16(info) != TLV_INFO_MAGIC) {
		return BE_OTA_E_TLV;
	}
	const uint32_t end = at + le16(info + 2);

	if (end > ota_total) {
		return BE_OTA_E_TLV;
	}
	for (uint32_t off = at + sizeof(info); off + 4U <= end;) {
		uint8_t t[4];

		if (flash_area_read(fa, off, t, sizeof(t)) != 0) {
			return BE_OTA_E_FLASH;
		}
		const uint16_t type = le16(t), len = le16(t + 2);

		if (off + 4U + len > end) {
			return BE_OTA_E_TLV;
		}
		if (type == TLV_SHA256 && len == 32U) {
			return flash_area_read(fa, off + 4U, out, 32) == 0 ? 0 : BE_OTA_E_FLASH;
		}
		off += 4U + len;
	}
	return BE_OTA_E_TLV;
}

/*
 * Reads slot 1 back once: the image's own SHA-256 over header, image and protected TLVs (as MCUboot will
 * check it) and, when BEGIN carried one, the SHA-256 of the whole file as sent.
 */
static int check_image(void)
{
	static const uint8_t none[32];
	const uint32_t hashed = (uint32_t)ota_hdr_size + ota_img_size + ota_prot_size;
	struct be_sha256 whole, image;
	uint8_t want[32], d_whole[32], d_image[32];

	if (hashed + 4U > ota_total) {
		return BE_OTA_E_TLV;
	}
	int err = find_hash_tlv(hashed, want);

	if (err) {
		return err;
	}
	be_sha256_init(&whole);
	be_sha256_init(&image);
	for (uint32_t off = 0; off < ota_total; off += sizeof(rd_buf)) {
		const uint32_t n = MIN(sizeof(rd_buf), ota_total - off);

		if (flash_area_read(fa, off, rd_buf, n) != 0) {
			return BE_OTA_E_FLASH;
		}
		be_sha256_update(&whole, rd_buf, n);
		if (off < hashed) {
			be_sha256_update(&image, rd_buf, MIN(n, hashed - off));
		}
		if ((off & 0xFFFFU) == 0U) {
			be_wdt_main_alive();
		}
	}
	be_sha256_final(&whole, d_whole);
	be_sha256_final(&image, d_image);
	if (memcmp(d_image, want, sizeof(want)) != 0) {
		return BE_OTA_E_HASH;
	}
	if (memcmp(ota_sha, none, sizeof(none)) != 0 && memcmp(d_whole, ota_sha, sizeof(d_whole)) != 0) {
		return BE_OTA_E_HASH;
	}
	/* The vector table: initial stack in RAM, reset handler (Thumb) in slot 0 behind the header */
	uint8_t vt[8];

	if (flash_area_read(fa, ota_hdr_size, vt, sizeof(vt)) != 0) {
		return BE_OTA_E_FLASH;
	}
	const uint32_t msp = le32(vt), reset = le32(vt + 4);
	const bool msp_ok = (msp > SRAM_ADDR && msp <= SRAM_ADDR + SRAM_SIZE) ||
			    (msp > DTCM_ADDR && msp <= DTCM_ADDR + DTCM_SIZE);
	const bool reset_ok = (reset & 1U) != 0U && reset > SLOT0_ADDR + ota_hdr_size &&
			      reset < SLOT0_ADDR + SLOT0_SIZE;

	if (!msp_ok || !reset_ok) {
		return BE_OTA_E_VECTORS;
	}
	return check_tlvs();
}

static int on_finish(const struct be_link_ota_hdr *h)
{
	if (phase == OTA_DONE && h->image_id == ota_image_id) {
		return 0; /* repeated: marked already, the restart is due */
	}
	if (phase != OTA_RECEIVING || h->image_id != ota_image_id || ota_written != ota_total) {
		return BE_OTA_E_SEQUENCE;
	}
	int err = check_image();

	if (err) {
		give_up("the image in slot 1 failed its check", err);
		return err;
	}
	struct ota_marker m = {.magic = MARKER_MAGIC};

	version_text(m.version, sizeof(m.version), ota_ver);
	(void)settings_save_one("beota/pending", &m, sizeof(m));
	if (boot_request_upgrade(BOOT_UPGRADE_TEST) != 0) {
		(void)settings_delete("beota/pending");
		give_up("marking slot 1 failed", BE_OTA_E_MARK);
		return BE_OTA_E_MARK;
	}
	printk("update %s in slot 1 checked and marked, restarting\n", m.version);
	phase = OTA_DONE;
	be_cfg_system_reset_in(RESTART_MS);
	return 0;
}

bool be_ota_frame(const struct be_link_frame *f)
{
	if (f->type != BE_LINK_OTA) {
		return false;
	}
	struct be_link_ota_hdr h;

	if (f->len < sizeof(h)) {
		return true;
	}
	memcpy(&h, f->payload, sizeof(h));
	int status;

	switch (h.op) {
	case BE_OTA_BEGIN:
		if (f->len < sizeof(struct be_link_ota_begin)) {
			status = BE_OTA_E_SEQUENCE;
		} else if (phase == OTA_RECEIVING && h.image_id == ota_image_id && ota_written == 0U) {
			status = 0; /* repeated because our ack was lost */
		} else if (phase != OTA_IDLE) {
			status = BE_OTA_E_SEQUENCE;
		} else {
			struct be_link_ota_begin b;

			memcpy(&b, f->payload, sizeof(b));
			status = on_begin(&b);
		}
		break;
	case BE_OTA_DATA:
		status = on_data(&h, f->payload + sizeof(h), (uint16_t)(f->len - sizeof(h)));
		if (status == BE_OTA_E_FLASH) {
			give_up("writing slot 1 failed", status);
		}
		break;
	case BE_OTA_FINISH:
		status = on_finish(&h);
		break;
	case BE_OTA_ABORT:
		status = 0;
		if (phase == OTA_RECEIVING) {
			give_up("aborted by the network module", 0);
		}
		break;
	default:
		status = BE_OTA_E_SEQUENCE;
		break;
	}
	ota_last_ms = k_uptime_get();
	send_ack(&h, status);
	return true;
}

bool be_ota_busy(void)
{
	return phase != OTA_IDLE;
}

void be_ota_poll(void)
{
	const int64_t up = k_uptime_get();

	if (phase == OTA_RECEIVING && up - ota_last_ms > BE_LINK_OTA_TIMEOUT_MS) {
		give_up("no data for 10 s", 0);
	}
	if (state != BE_IMAGE_TEST) {
		return;
	}
	/* A start after a watchdog or fault reset does not confirm */
	const enum be_reset_cause cause = be_wdt_reset_cause();
	const bool clean_start = cause != BE_RESET_WDT_FIRST && cause != BE_RESET_FATAL &&
				 cause != BE_RESET_WDT_HW;

	if (cfg_ok && clean_start && link_peer_alive() && up >= CONFIRM_AFTER_MS) {
		/* The marker first: once confirmed, a leftover marker would read as "reverted" */
		(void)settings_delete("beota/pending");
		int err = boot_write_img_confirmed();

		printk("image confirmed: %d\n", err);
		if (err == 0) {
			state = BE_IMAGE_CONFIRMED;
			result = BE_UPDATE_INSTALLED;
		}
		return;
	}
	/*
	 * Not confirmed within 5 minutes, whatever held it (no link, settings not read, a start after a
	 * watchdog or fault reset): restart, MCUboot swaps the old image back. Waiting longer would only
	 * leave the device on an image that MCUboot drops at the next reset anyway.
	 */
	if (up >= GIVE_UP_MS && phase == OTA_IDLE) {
		printk("test image not confirmed after 5 minutes (%s), restarting for the old image\n",
		       !cfg_ok ? "settings not read" : !clean_start ? "start after a watchdog or fault"
						 : "no link to the ESP32");
		state = BE_IMAGE_CONFIRMED; /* once */
		be_cfg_system_reset();
	}
}

enum be_image_state be_ota_image_state(void)
{
	return state;
}

enum be_update_result be_ota_update_result(void)
{
	return result;
}

const char *be_ota_image_version(void)
{
	return image_version;
}

const char *be_ota_update_version(void)
{
	return update_version;
}

#else /* !CONFIG_BOOTLOADER_MCUBOOT */

void be_ota_init(int cfg_err)
{
	ARG_UNUSED(cfg_err);
}

void be_ota_poll(void)
{
}

bool be_ota_frame(const struct be_link_frame *f)
{
	if (f->type != BE_LINK_OTA) {
		return false;
	}
	struct be_link_ota_hdr h = {0};

	memcpy(&h, f->payload, MIN(f->len, sizeof(h)));
	struct be_link_ota_ack a = {
		.ack = {.acked_type = BE_LINK_OTA, .acked_seq = h.id, .status = BE_OTA_E_NO_BOOTLOADER},
		.op = h.op,
	};

	(void)link_send(BE_LINK_ACK, &a, sizeof(a));
	return true;
}

bool be_ota_busy(void)
{
	return false;
}

enum be_image_state be_ota_image_state(void)
{
	return BE_IMAGE_NO_BOOTLOADER;
}

enum be_update_result be_ota_update_result(void)
{
	return BE_UPDATE_NONE;
}

const char *be_ota_image_version(void)
{
	return "";
}

const char *be_ota_update_version(void)
{
	return "";
}

#endif
```

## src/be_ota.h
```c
/*
 * The image under MCUboot (OTA_PLAN.md): receiving an update over the link into slot 1, confirming a new
 * image, and the state for Modbus and the snapshot. Without MCUboot (a build straight into flash) the
 * image counts as confirmed and updates are refused.
 *
 * SPDX-License-Identifier: GPL-3.0-or-later
 */
#ifndef BE_OTA_H
#define BE_OTA_H

#include <stdbool.h>
#include <stdint.h>

#include "be_link.h"

enum be_image_state {
	BE_IMAGE_NO_BOOTLOADER = 0, /* built without MCUboot */
	BE_IMAGE_CONFIRMED = 1,
	BE_IMAGE_TEST = 2, /* started by MCUboot as a test image, not confirmed yet */
};

enum be_update_result {
	BE_UPDATE_NONE = 0,
	BE_UPDATE_INSTALLED = 1, /* the update was confirmed in this start */
	BE_UPDATE_REVERTED = 2,  /* the update did not confirm: MCUboot swapped the old image back */
	BE_UPDATE_ON_TEST = 3,   /* this start is the update, not confirmed yet */
};

/* At start, after be_cfg_init(): its result decides whether the settings were read */
void be_ota_init(int cfg_err);

/*
 * From the main loop. Confirms a test image once: settings read, link to the ESP32 up, 60 s, and a start
 * that was not a watchdog or fault reset. A test image that is not confirmed 5 minutes after its start,
 * whatever the reason, restarts: MCUboot swaps the old image back. Also ends a stalled update transfer.
 */
void be_ota_poll(void);

/* From the link: true if the frame was BE_LINK_OTA (acknowledged here) */
bool be_ota_frame(const struct be_link_frame *frame);

/* An update is being received or was received and the restart is due: the link stays quiet */
bool be_ota_busy(void);

enum be_image_state be_ota_image_state(void);
enum be_update_result be_ota_update_result(void);
/* MCUboot version of the running image and of the update of be_ota_update_result(), "" if none */
const char *be_ota_image_version(void);
const char *be_ota_update_version(void);

#endif /* BE_OTA_H */
```

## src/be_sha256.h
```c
/*
 * SHA-256 (FIPS 180-4) for checking an update image. Small and plain: the image check runs once per update.
 *
 * SPDX-License-Identifier: GPL-3.0-or-later
 */
#ifndef BE_SHA256_H
#define BE_SHA256_H

#include <stddef.h>
#include <stdint.h>

struct be_sha256 {
	uint32_t h[8];
	uint64_t len; /* bytes so far */
	uint8_t buf[64];
	uint8_t fill;
};

void be_sha256_init(struct be_sha256 *s);
void be_sha256_update(struct be_sha256 *s, const void *data, size_t len);
void be_sha256_final(struct be_sha256 *s, uint8_t out[32]);

#endif /* BE_SHA256_H */
```
